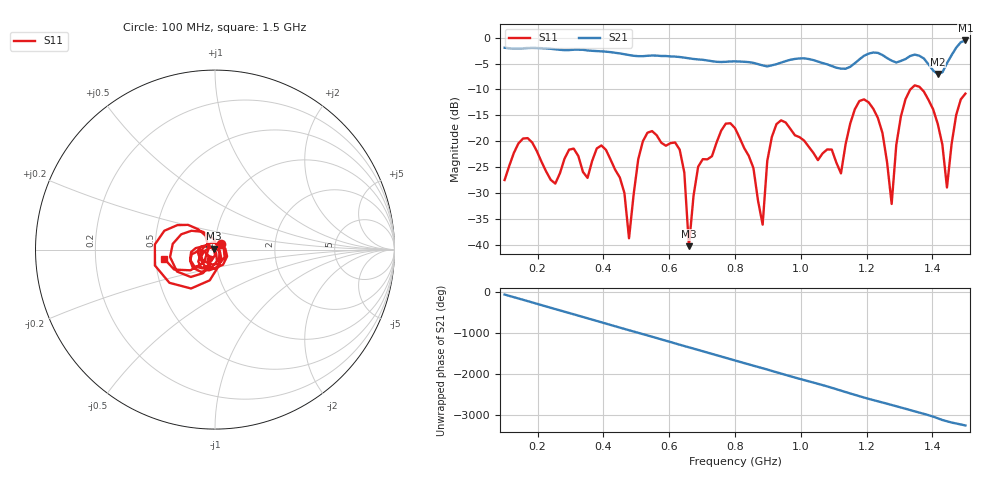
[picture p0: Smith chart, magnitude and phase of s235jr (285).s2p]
! NanoVNA-App
! Date: 2025-09-25 15:06:23
! Start: 100MHz Stop: 1,5GHz Points: 101
! S-Parameter data: F S11 S21 S12 S22
# Hz S RI R 50
!  Frequency  S11_Real  S11_Imag  S21_Real  S21_Imag  S12_Real  S12_Imag  S22_Real  S22_Imag
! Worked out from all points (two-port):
!   101 points, 100 MHz to 1.5 GHz, reference 50 ohm
!   highest |S21| = -0.55 dB at 1.5 GHz (marker M1); lowest = -7.0 dB at 1.416 GHz (marker M2)
!   |S21| within 3 dB of the highest: start of sweep to 501 MHz; 525.8 MHz to 590.4 MHz (64.62 MHz wide, 11.6 % of centre) (the widest 2 of 5)
!   lowest |S11| = -40.2 dB at 660 MHz (marker M3), VSWR 1.02, Z = 49.2 + j0.54 ohm
!   |S11| at or under -10 dB: start of sweep to 1.333 GHz; 1.368 GHz to end of sweep
!   S12 and S22 are empty: the file has one direction only
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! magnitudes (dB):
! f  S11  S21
! 100 MHz  -27.5  -2.0
! 156 MHz  -19.5  -2.1
! 338 MHz  -25.9  -2.4
! 408 MHz  -21.7  -2.7
! 478 MHz  -38.7  -3.4
! 520 MHz  -20.0  -3.6
! 576 MHz  -20.3  -3.6
! 632 MHz  -21.6  -3.7
! 660 MHz  -40.2  -4.0
! 688 MHz  -24.9  -4.2
! 800 MHz  -17.5  -4.6
! 884 MHz  -36.1  -5.4
! 926 MHz  -16.7  -5.1
! 1.038 GHz  -22.2  -4.3
! 1.122 GHz  -26.2  -6.0
! 1.206 GHz  -12.5  -3.1
! 1.276 GHz  -32.1  -4.5
! 1.29 GHz  -20.7  -4.8
! 1.332 GHz  -10.1  -3.6
! 1.416 GHz  -16.6  -7.0
! 1.444 GHz  -28.9  -4.9
! 1.5 GHz  -10.8  -0.6
